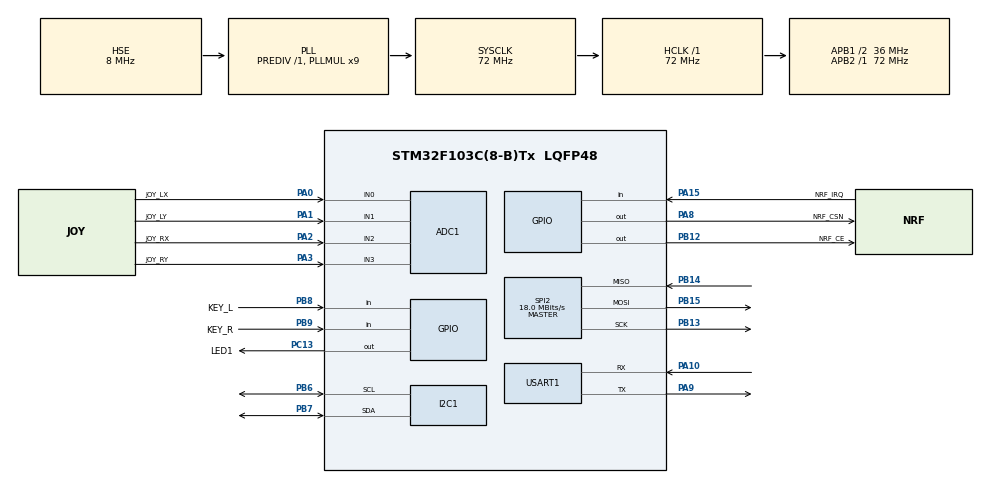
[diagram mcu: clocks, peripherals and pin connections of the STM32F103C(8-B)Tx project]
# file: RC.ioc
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ADC1.Channel-0\#ChannelRegularConversion=ADC_CHANNEL_0
ADC1.Channel-1\#ChannelRegularConversion=ADC_CHANNEL_1
ADC1.Channel-2\#ChannelRegularConversion=ADC_CHANNEL_2
ADC1.Channel-3\#ChannelRegularConversion=ADC_CHANNEL_3
ADC1.ContinuousConvMode=ENABLE
ADC1.DiscontinuousConvMode=DISABLE
ADC1.InjNumberOfConversion=0
ADC1.NbrOfConversion=4
ADC1.NbrOfConversionFlag=1
ADC1.Rank-0\#ChannelRegularConversion=1
ADC1.Rank-1\#ChannelRegularConversion=2
ADC1.Rank-2\#ChannelRegularConversion=3
ADC1.Rank-3\#ChannelRegularConversion=4
ADC1.SamplingTime-0\#ChannelRegularConversion=ADC_SAMPLETIME_1CYCLE_5
ADC1.SamplingTime-1\#ChannelRegularConversion=ADC_SAMPLETIME_1CYCLE_5
ADC1.SamplingTime-2\#ChannelRegularConversion=ADC_SAMPLETIME_1CYCLE_5
ADC1.SamplingTime-3\#ChannelRegularConversion=ADC_SAMPLETIME_1CYCLE_5
ADC1.master=1
Dma.ADC1.0.Direction=DMA_PERIPH_TO_MEMORY
Dma.ADC1.0.Instance=DMA1_Channel1
Dma.ADC1.0.MemDataAlignment=DMA_MDATAALIGN_WORD
Dma.ADC1.0.MemInc=DMA_MINC_ENABLE
Dma.ADC1.0.Mode=DMA_NORMAL
Dma.ADC1.0.PeriphDataAlignment=DMA_PDATAALIGN_WORD
Dma.ADC1.0.PeriphInc=DMA_PINC_DISABLE
Dma.ADC1.0.Priority=DMA_PRIORITY_LOW
Dma.Request0=ADC1
FREERTOS.Queues01=JoyKeyQueue,8,JoyKey_Typedef,0,Dynamic,NULL,NULL;Gesture,8,Gesture_Typedef,0,Dynamic,NULL,NULL;PIDQueue,8,PID_Typedef,0,Dynamic,NULL,NULL
FREERTOS.Tasks01=DefaultTask,-2,64,StartDefaultTask,Default,NULL,Dynamic,NULL,NULL;NRFTask,3,512,StartNRFTask,Default,NULL,Dynamic,NULL,NULL;OLED_Task,0,512,StartOLED_Task,Default,NULL,Dynamic,NULL,NULL;JoyKeyTask,0,512,StartJoyKeyTask,Default,NULL,Dynamic,NULL,NULL;PIDTask,-1,128,StartPIDTask,Default,NULL,Dynamic,NULL,NULL
FREERTOS.configENABLE_BACKWARD_COMPATIBILITY=0
FREERTOS.configGENERATE_RUN_TIME_STATS=0
FREERTOS.configIDLE_SHOULD_YIELD=0
FREERTOS.configMAX_TASK_NAME_LEN=12
FREERTOS.configMINIMAL_STACK_SIZE=64
FREERTOS.configQUEUE_REGISTRY_SIZE=0
FREERTOS.configTOTAL_HEAP_SIZE=10240
FREERTOS.configUSE_MUTEXES=0
FREERTOS.configUSE_STATS_FORMATTING_FUNCTIONS=0
FREERTOS.configUSE_TASK_NOTIFICATIONS=0
FREERTOS.configUSE_TRACE_FACILITY=0
I2C1.I2C_Mode=I2C_Fast
Mcu.Family=STM32F1
Mcu.Name=STM32F103C(8-B)Tx
Mcu.Package=LQFP48
NVIC.DMA1_Channel1_IRQn=true\:5\:0\:false\:false\:true\:true\:false\:true
NVIC.PriorityGroup=NVIC_PRIORITYGROUP_4
NVIC.TIM4_IRQn=true\:0\:0\:false\:false\:true\:false\:false\:true
NVIC.TimeBase=TIM4_IRQn
NVIC.TimeBaseIP=TIM4
PA0-WKUP.GPIO_Label=JOY_LX
PA0-WKUP.Signal=ADCx_IN0
PA1.GPIO_Label=JOY_LY
PA1.Signal=ADCx_IN1
PA10.Mode=Asynchronous
PA10.Signal=USART1_RX
PA13.GPIO_Label=SWDIO
PA13.Mode=Serial_Wire
PA13.Signal=SYS_JTMS-SWDIO
PA14.GPIO_Label=SWCLK
PA14.Mode=Serial_Wire
PA14.Signal=SYS_JTCK-SWCLK
PA15.GPIO_Label=NRF_IRQ
PA15.Signal=GPIO_Input
PA2.GPIO_Label=JOY_RX
PA2.Signal=ADCx_IN2
PA3.GPIO_Label=JOY_RY
PA3.Signal=ADCx_IN3
PA8.GPIO_Label=NRF_CSN
PA8.GPIO_Speed=GPIO_SPEED_FREQ_HIGH
PA8.Signal=GPIO_Output
PA9.Mode=Asynchronous
PA9.Signal=USART1_TX
PB12.GPIO_Label=NRF_CE
PB12.GPIO_Speed=GPIO_SPEED_FREQ_HIGH
PB12.Signal=GPIO_Output
PB13.Mode=Full_Duplex_Master
PB13.Signal=SPI2_SCK
PB14.Mode=Full_Duplex_Master
PB14.Signal=SPI2_MISO
PB15.Mode=Full_Duplex_Master
PB15.Signal=SPI2_MOSI
PB6.Mode=I2C
PB6.Signal=I2C1_SCL
PB7.Mode=I2C
PB7.Signal=I2C1_SDA
PB8.GPIO_Label=KEY_L
PB8.GPIO_PuPd=GPIO_PULLUP
PB8.Signal=GPIO_Input
PB9.GPIO_Label=KEY_R
PB9.GPIO_PuPd=GPIO_PULLDOWN
PB9.Signal=GPIO_Input
PC13-TAMPER-RTC.GPIO_Label=LED1
PC13-TAMPER-RTC.GPIO_Speed=GPIO_SPEED_FREQ_HIGH
PC13-TAMPER-RTC.Signal=GPIO_Output
PC14-OSC32_IN.Mode=LSE-External-Oscillator
PC14-OSC32_IN.Signal=RCC_OSC32_IN
PC15-OSC32_OUT.Mode=LSE-External-Oscillator
PC15-OSC32_OUT.Signal=RCC_OSC32_OUT
PD0-OSC_IN.Mode=HSE-External-Oscillator
PD0-OSC_IN.Signal=RCC_OSC_IN
PD1-OSC_OUT.Mode=HSE-External-Oscillator
PD1-OSC_OUT.Signal=RCC_OSC_OUT
ProjectManager.HeapSize=0x600
ProjectManager.StackSize=0x800
ProjectManager.TargetToolchain=MDK-ARM V5
RCC.ADCPresc=RCC_ADCPCLK2_DIV6
RCC.AHBFreq_Value=72000000
RCC.APB1CLKDivider=RCC_HCLK_DIV2
RCC.APB1Freq_Value=36000000
RCC.APB1TimFreq_Value=72000000
RCC.APB2Freq_Value=72000000
RCC.APB2TimFreq_Value=72000000
RCC.EnbaleCSS=true
RCC.HCLKFreq_Value=72000000
RCC.PLLMUL=RCC_PLL_MUL9
RCC.PLLSourceVirtual=RCC_PLLSOURCE_HSE
RCC.SYSCLKFreq_VALUE=72000000
RCC.SYSCLKSource=RCC_SYSCLKSOURCE_PLLCLK
RCC.USBFreq_Value=48000000
RCC.USBPrescaler=RCC_USBCLKSOURCE_PLL_DIV1_5
SH.ADCx_IN0.0=ADC1_IN0,IN0
SH.ADCx_IN1.0=ADC1_IN1,IN1
SH.ADCx_IN2.0=ADC1_IN2,IN2
SH.ADCx_IN3.0=ADC1_IN3,IN3
SPI2.BaudRatePrescaler=SPI_BAUDRATEPRESCALER_2
SPI2.CalculateBaudRate=18.0 MBits/s
SPI2.Direction=SPI_DIRECTION_2LINES
SPI2.Mode=SPI_MODE_MASTER
SPI2.VirtualType=VM_MASTER
USART1.VirtualMode=VM_ASYNC
VP_CRC_VS_CRC.Mode=CRC_Activate
VP_FREERTOS_VS_CMSIS_V1.Mode=CMSIS_V1
VP_SYS_VS_tim4.Mode=TIM4
board=custom

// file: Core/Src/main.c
/* USER CODE BEGIN Header */
/**
  ******************************************************************************
  * @file           : main.c
  * @brief          : Main program body
  ******************************************************************************
  * This notice applies to any and all portions of this file
  * that are not between comment pairs USER CODE BEGIN and
  * USER CODE END. Other portions of this file, whether
  * inserted by the user or by software development tools
  * are owned by their respective copyright owners.
  *
  * Copyright (c) 2018 STMicroelectronics International N.V.
  * All rights reserved.
  *
  * Redistribution and use in source and binary forms, with or without
  * modification, are permitted, provided that the following conditions are met:
  *
  * 1. Redistribution of source code must retain the above copyright notice,
  *    this list of conditions and the following disclaimer.
  * 2. Redistributions in binary form must reproduce the above copyright notice,
  *    this list of conditions and the following disclaimer in the documentation
  *    and/or other materials provided with the distribution.
  * 3. Neither the name of STMicroelectronics nor the names of other
  *    contributors to this software may be used to endorse or promote products
  *    derived from this software without specific written permission.
  * 4. This software, including modifications and/or derivative works of this
  *    software, must execute solely and exclusively on microcontroller or
  *    microprocessor devices manufactured by or for STMicroelectronics.
  * 5. Redistribution and use of this software other than as permitted under
  *    this license is void and will automatically terminate your rights under
  *    this license.
  *
  * THIS SOFTWARE IS PROVIDED BY STMICROELECTRONICS AND CONTRIBUTORS "AS IS"
  * AND ANY EXPRESS, IMPLIED OR STATUTORY WARRANTIES, INCLUDING, BUT NOT
  * LIMITED TO, THE IMPLIED WARRANTIES OF MERCHANTABILITY, FITNESS FOR A
  * PARTICULAR PURPOSE AND NON-INFRINGEMENT OF THIRD PARTY INTELLECTUAL PROPERTY
  * RIGHTS ARE DISCLAIMED TO THE FULLEST EXTENT PERMITTED BY LAW. IN NO EVENT
  * SHALL STMICROELECTRONICS OR CONTRIBUTORS BE LIABLE FOR ANY DIRECT, INDIRECT,
  * INCIDENTAL, SPECIAL, EXEMPLARY, OR CONSEQUENTIAL DAMAGES (INCLUDING, BUT NOT
  * LIMITED TO, PROCUREMENT OF SUBSTITUTE GOODS OR SERVICES; LOSS OF USE, DATA,
  * OR PROFITS; OR BUSINESS INTERRUPTION) HOWEVER CAUSED AND ON ANY THEORY OF
  * LIABILITY, WHETHER IN CONTRACT, STRICT LIABILITY, OR TORT (INCLUDING
  * NEGLIGENCE OR OTHERWISE) ARISING IN ANY WAY OUT OF THE USE OF THIS SOFTWARE,
  * EVEN IF ADVISED OF THE POSSIBILITY OF SUCH DAMAGE.
  *
  ******************************************************************************
  */
/* USER CODE END Header */

#include "main.h"
#include "cmsis_os.h"
#include "adc.h"
#include "crc.h"
#include "dma.h"
#include "i2c.h"
#include "spi.h"
#include "usart.h"
#include "gpio.h"

/* USER CODE BEGIN Includes */
#include "BSP_OLED.h"
#include "BSP_NRF24L01.h"
/* USER CODE END Includes */

void SystemClock_Config(void);
void MX_FREERTOS_Init(void);

int main(void)
{

  /* MCU Configuration--------------------------------------------------------*/

  /* Reset of all peripherals, Initializes the Flash interface and the Systick. */
  HAL_Init();

  /* Configure the system clock */
  SystemClock_Config();

  /* Initialize all configured peripherals */
  MX_GPIO_Init();
  MX_DMA_Init();
  MX_SPI2_Init();
  MX_I2C1_Init();
  MX_ADC1_Init();
  MX_USART1_UART_Init();
  MX_CRC_Init();
  /* USER CODE BEGIN 2 */
		while( NRF24L01_Check() );
  HAL_ADCEx_Calibration_Start(&hadc1);
	 OLED_Init();
		OLED_Clear();
  /* USER CODE END 2 */

  /* Call init function for freertos objects (in freertos.c) */
  MX_FREERTOS_Init();

  /* Start scheduler */
  osKernelStart();

  /* We should never get here as control is now taken by the scheduler */

  /* Infinite loop */
  while (1)
  {

  }
}

void SystemClock_Config(void)
{
  RCC_OscInitTypeDef RCC_OscInitStruct = {0};
  RCC_ClkInitTypeDef RCC_ClkInitStruct = {0};
  RCC_PeriphCLKInitTypeDef PeriphClkInit = {0};

  /**Initializes the CPU, AHB and APB busses clocks
  */
  RCC_OscInitStruct.OscillatorType = RCC_OSCILLATORTYPE_HSE;
  RCC_OscInitStruct.HSEState = RCC_HSE_ON;
  RCC_OscInitStruct.HSEPredivValue = RCC_HSE_PREDIV_DIV1;
  RCC_OscInitStruct.HSIState = RCC_HSI_ON;
  RCC_OscInitStruct.PLL.PLLState = RCC_PLL_ON;
  RCC_OscInitStruct.PLL.PLLSource = RCC_PLLSOURCE_HSE;
  RCC_OscInitStruct.PLL.PLLMUL = RCC_PLL_MUL9;
  if (HAL_RCC_OscConfig(&RCC_OscInitStruct) != HAL_OK)
  {
    Error_Handler();
  }
  /**Initializes the CPU, AHB and APB busses clocks
  */
  RCC_ClkInitStruct.ClockType = RCC_CLOCKTYPE_HCLK|RCC_CLOCKTYPE_SYSCLK
                              |RCC_CLOCKTYPE_PCLK1|RCC_CLOCKTYPE_PCLK2;
  RCC_ClkInitStruct.SYSCLKSource = RCC_SYSCLKSOURCE_PLLCLK;
  RCC_ClkInitStruct.AHBCLKDivider = RCC_SYSCLK_DIV1;
  RCC_ClkInitStruct.APB1CLKDivider = RCC_HCLK_DIV2;
  RCC_ClkInitStruct.APB2CLKDivider = RCC_HCLK_DIV1;

  if (HAL_RCC_ClockConfig(&RCC_ClkInitStruct, FLASH_LATENCY_2) != HAL_OK)
  {
    Error_Handler();
  }
  PeriphClkInit.PeriphClockSelection = RCC_PERIPHCLK_ADC;
  PeriphClkInit.AdcClockSelection = RCC_ADCPCLK2_DIV6;
  if (HAL_RCCEx_PeriphCLKConfig(&PeriphClkInit) != HAL_OK)
  {
    Error_Handler();
  }
  /**Enables the Clock Security System
  */
  HAL_RCC_EnableCSS();
}

void HAL_TIM_PeriodElapsedCallback(TIM_HandleTypeDef *htim)
{
  if (htim->Instance == TIM4) {
    HAL_IncTick();
  }
}

void Error_Handler(void)
{
}

/************************ (C) COPYRIGHT STMicroelectronics *****END OF FILE****/

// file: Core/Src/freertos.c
/* USER CODE BEGIN Header */
/**
  ******************************************************************************
  * File Name          : freertos.c
  * Description        : Code for freertos applications
  ******************************************************************************
  * This notice applies to any and all portions of this file
  * that are not between comment pairs USER CODE BEGIN and
  * USER CODE END. Other portions of this file, whether
  * inserted by the user or by software development tools
  * are owned by their respective copyright owners.
  *
  * Copyright (c) 2018 STMicroelectronics International N.V.
  * All rights reserved.
  *
  * Redistribution and use in source and binary forms, with or without
  * modification, are permitted, provided that the following conditions are met:
  *
  * 1. Redistribution of source code must retain the above copyright notice,
  *    this list of conditions and the following disclaimer.
  * 2. Redistributions in binary form must reproduce the above copyright notice,
  *    this list of conditions and the following disclaimer in the documentation
  *    and/or other materials provided with the distribution.
  * 3. Neither the name of STMicroelectronics nor the names of other
  *    contributors to this software may be used to endorse or promote products
  *    derived from this software without specific written permission.
  * 4. This software, including modifications and/or derivative works of this
  *    software, must execute solely and exclusively on microcontroller or
  *    microprocessor devices manufactured by or for STMicroelectronics.
  * 5. Redistribution and use of this software other than as permitted under
  *    this license is void and will automatically terminate your rights under
  *    this license.
  *
  * THIS SOFTWARE IS PROVIDED BY STMICROELECTRONICS AND CONTRIBUTORS "AS IS"
  * AND ANY EXPRESS, IMPLIED OR STATUTORY WARRANTIES, INCLUDING, BUT NOT
  * LIMITED TO, THE IMPLIED WARRANTIES OF MERCHANTABILITY, FITNESS FOR A
  * PARTICULAR PURPOSE AND NON-INFRINGEMENT OF THIRD PARTY INTELLECTUAL PROPERTY
  * RIGHTS ARE DISCLAIMED TO THE FULLEST EXTENT PERMITTED BY LAW. IN NO EVENT
  * SHALL STMICROELECTRONICS OR CONTRIBUTORS BE LIABLE FOR ANY DIRECT, INDIRECT,
  * INCIDENTAL, SPECIAL, EXEMPLARY, OR CONSEQUENTIAL DAMAGES (INCLUDING, BUT NOT
  * LIMITED TO, PROCUREMENT OF SUBSTITUTE GOODS OR SERVICES; LOSS OF USE, DATA,
  * OR PROFITS; OR BUSINESS INTERRUPTION) HOWEVER CAUSED AND ON ANY THEORY OF
  * LIABILITY, WHETHER IN CONTRACT, STRICT LIABILITY, OR TORT (INCLUDING
  * NEGLIGENCE OR OTHERWISE) ARISING IN ANY WAY OUT OF THE USE OF THIS SOFTWARE,
  * EVEN IF ADVISED OF THE POSSIBILITY OF SUCH DAMAGE.
  *
  ******************************************************************************
  */
/* USER CODE END Header */

#include "FreeRTOS.h"
#include "task.h"
#include "main.h"
#include "cmsis_os.h"

/* USER CODE BEGIN Includes */
#include "string.h"

#include "adc.h"
#include "crc.h"
#include "usart.h"

#include "BSP_LED.h"
#include "BSP_NRF24L01.h"
#include "BSP_OLED.h"
#include "BSP_Key.h"
/* USER CODE END Includes */

/* USER CODE BEGIN PD */
#define NRF_TX_MAXRETRY 5
#define NRF_RX_MAXRETRY 5

/* Roll  innner INDEX_PID 1
         outer  INDEX_PID 4
			pitch inner  INDEX_PID 7
			      outer  INDEX_PID 10
*/

#define INDEX_PID  4
/* USER CODE END PD */

/* USER CODE BEGIN Variables */
typedef __packed struct{
	uint8_t Function_Code; //1B
	float P; //4B
	float I; //4B
	float D; //4B
	uint8_t Select_Index;//1B
}PID_Typedef;    //26B

typedef __packed struct{
	uint8_t Function_Code;
	uint8_t Key_Left_Flag;
	uint8_t Key_Right_Flag;
	uint8_t key_Count;  //4B
	int16_t LX;  //2B YAW       -180~+180
	int16_t LY;  //2B Throttle  -2000~+2000
	int8_t RX;  //1B Roll      -30~+30
	int8_t RY;  //1B Pitch     -30~+30
	uint8_t Heart_Beat; //1B
}JoyKey_Typedef;   //10B

typedef __packed struct{
	uint8_t Function_Code;
	float Yaw;  //4B
	float Pitch;  //4B
	float Roll;  //4B
}Gesture_Typedef;

/* USER CODE END Variables */
osThreadId DefaultTaskHandle;
osThreadId NRFTaskHandle;
osThreadId OLED_TaskHandle;
osThreadId JoyKeyTaskHandle;
osThreadId PIDTaskHandle;
osMessageQId JoyKeyQueueHandle;
osMessageQId GestureHandle;
osMessageQId PIDQueueHandle;

void StartDefaultTask(void const * argument);
void StartNRFTask(void const * argument);
void StartOLED_Task(void const * argument);
void StartJoyKeyTask(void const * argument);
void StartPIDTask(void const * argument);

void MX_FREERTOS_Init(void); /* (MISRA C 2004 rule 8.1) */

void MX_FREERTOS_Init(void) {

  /* Create the thread(s) */
  /* definition and creation of DefaultTask */
  osThreadDef(DefaultTask, StartDefaultTask, osPriorityLow, 0, 64);
  DefaultTaskHandle = osThreadCreate(osThread(DefaultTask), NULL);

  /* definition and creation of NRFTask */
  osThreadDef(NRFTask, StartNRFTask, osPriorityRealtime, 0, 512);
  NRFTaskHandle = osThreadCreate(osThread(NRFTask), NULL);

  /* definition and creation of OLED_Task */
  osThreadDef(OLED_Task, StartOLED_Task, osPriorityNormal, 0, 512);
  OLED_TaskHandle = osThreadCreate(osThread(OLED_Task), NULL);

  /* definition and creation of JoyKeyTask */
  osThreadDef(JoyKeyTask, StartJoyKeyTask, osPriorityNormal, 0, 512);
  JoyKeyTaskHandle = osThreadCreate(osThread(JoyKeyTask), NULL);

  /* definition and creation of PIDTask */
  osThreadDef(PIDTask, StartPIDTask, osPriorityBelowNormal, 0, 128);
  PIDTaskHandle = osThreadCreate(osThread(PIDTask), NULL);

  /* Create the queue(s) */
  /* definition and creation of JoyKeyQueue */
  osMessageQDef(JoyKeyQueue, 8, JoyKey_Typedef);
  JoyKeyQueueHandle = osMessageCreate(osMessageQ(JoyKeyQueue), NULL);

  /* definition and creation of Gesture */
  osMessageQDef(Gesture, 8, Gesture_Typedef);
  GestureHandle = osMessageCreate(osMessageQ(Gesture), NULL);

  /* definition and creation of PIDQueue */
  osMessageQDef(PIDQueue, 8, PID_Typedef);
  PIDQueueHandle = osMessageCreate(osMessageQ(PIDQueue), NULL);

}

void StartDefaultTask(void const * argument)
{

  /* USER CODE BEGIN StartDefaultTask */
  /* Infinite loop */
  for(;;)
  {
		  LED_ON;
				osDelay(50);
				LED_OFF;

    osDelay(950);
  }
  /* USER CODE END StartDefaultTask */
}

void StartNRFTask(void const * argument)
{
  /* USER CODE BEGIN StartNRFTask */
	 Gesture_Typedef Gesture;

	 osEvent JoyKey_Event;
	 osEvent PID_Event;

	 uint8_t NRF_Tx_buf[32];  //1字节功能码+30字节数据-------------------
  uint8_t NRF_Rx_buf[32];
  uint32_t CRC_Buf[31];

 	uint8_t NRF_Mode=1;//0 无  1 发送 2 接收
	 __IO uint8_t Function_Code='C';
	 uint8_t NRF_Rx_index=0;
  uint8_t Time_Index=0;

 	NRF24L01_Init(40,NRF_Mode);//发送

  /* Infinite loop */
  for(;;)
  {
//			 if( Time_Index >50 )
//				{
//			  Function_code= 'R';
//					Gesture.Function_Code=Function_code;
//					Time_Index=0;
//			 }
//				else
//				{
				JoyKey_Event=osMessagePeek(JoyKeyQueueHandle,0);

		 	PID_Event=osMessagePeek(PIDQueueHandle,0);

    switch( NRF_Mode )
				{
					case 1:
							NRF24L01_TX_Mode();
							NRF_Mode=0;
						break;

					case 2:
							NRF24L01_RX_Mode();
							NRF_Mode=0;
						break;
					default:
						break;
				}

				if( ((PID_Typedef *)(PID_Event.value.p))->Function_Code == 'S')
				{
					Function_Code='S';
				}
				else
				{
					Function_Code=((JoyKey_Typedef *)(JoyKey_Event.value.p))->Function_Code;
				}

    switch( Function_Code )
				{
					case 'D':
						NRF_Tx_buf[0]='D';
					 memcpy(CRC_Buf,NRF_Tx_buf,31 );
					 NRF_Tx_buf[31] =(uint8_t) HAL_CRC_Calculate(&hcrc, CRC_Buf, 31);
						NRF24L01_TxPacket(NRF_Tx_buf);
						break;

					case 'C':
						memcpy( NRF_Tx_buf,((JoyKey_Typedef *)(JoyKey_Event.value.p)),sizeof(JoyKey_Typedef) );
					 ((JoyKey_Typedef *)(JoyKey_Event.value.p))->Heart_Beat++;
					 memcpy(CRC_Buf,NRF_Tx_buf,31 );
					 NRF_Tx_buf[31] =(uint8_t)HAL_CRC_Calculate(&hcrc, CRC_Buf, 31);
						NRF24L01_TxPacket(NRF_Tx_buf);
						break;

					case 'R':
							NRF24L01_TxPacket(NRF_Tx_buf);
							if( NRF_Mode!=2 )
							{
										NRF24L01_RX_Mode();
							}
							while(++NRF_Rx_index)
								{
											HAL_Delay(1);//加入该延时 即可收   原因未知？？？
											NRF24L01_RxPacket(NRF_Rx_buf);
											memcpy( &Gesture,NRF_Rx_buf,sizeof(Gesture_Typedef) );
											osMessagePut(GestureHandle,(uint32_t)&Gesture,0);
											if( NRF_Rx_index>NRF_RX_MAXRETRY )
											{
												NRF_Rx_index=0;
												Function_Code='C';
												break;
											}
								}
						NRF_Mode=1;
						break;

					case 'S':
						memcpy( NRF_Tx_buf,((PID_Typedef *)(PID_Event.value.p)),sizeof(PID_Typedef));
					 NRF24L01_TxPacket(NRF_Tx_buf);
						break;

					default:
						break;
				}
    Time_Index++;
    osDelay(5);
  }
  /* USER CODE END StartNRFTask */
}

void StartOLED_Task(void const * argument)
{
  /* USER CODE BEGIN StartOLED_Task */
  char str_buf1[16],str_buf2[10],str_buf3[19];
	 osEvent JoyKey_Event;
//  osEvent Gesture_Event;
	 osEvent PID_Event;

	 uint8_t Function_Code;
  /* Infinite loop */
  for(;;)
  {
  PID_Event=osMessagePeek(PIDQueueHandle,5);

		JoyKey_Event=osMessagePeek(JoyKeyQueueHandle,5);

  if( ((PID_Typedef *)(PID_Event.value.p))->Function_Code == 'S')
		{
			Function_Code='S';
		}
		else
		{
   Function_Code=((JoyKey_Typedef *)(JoyKey_Event.value.p))->Function_Code;
		}
			sprintf( str_buf1,"Function_Code: %c",  Function_Code);
			OLED_ShowString(0,0,(uint8_t *)str_buf1,12);

			switch( Function_Code )
			{
				case 'S':
					sprintf( str_buf3,"P:%02.2f", ((PID_Typedef *)(PID_Event.value.p))->P  );
					OLED_ShowString(0,1,(uint8_t *)str_buf3,12);

					sprintf( str_buf3,"I:%02.2f",((PID_Typedef *)(PID_Event.value.p))->I 		);
					OLED_ShowString(0,2,(uint8_t *)str_buf3,12);

					sprintf( str_buf3,"D:%02.2f",((PID_Typedef *)(PID_Event.value.p))->D  );
					OLED_ShowString(0,3,(uint8_t *)str_buf3,12);
					sprintf( str_buf3,"index:%1d",
																																									((PID_Typedef *)(PID_Event.value.p))->Select_Index );
					OLED_ShowString(0,4,(uint8_t *)str_buf3,12);
			break;

			case 'C':
						sprintf( str_buf1,"LX:%4d LY:%5d",
																																									((JoyKey_Typedef *)(JoyKey_Event.value.p))->LX,
																																									((JoyKey_Typedef *)(JoyKey_Event.value.p))->LY );
					OLED_ShowString(0,1,(uint8_t *)str_buf1,12);

					sprintf( str_buf2,"RX:%3d RY:%3d",
																																									((JoyKey_Typedef *)(JoyKey_Event.value.p))->RX,
																																									((JoyKey_Typedef *)(JoyKey_Event.value.p))->RY);
					OLED_ShowString(0,2,(uint8_t *)str_buf2,12);
			break;

				default :
//					OLED_Clear();
					break;
			}
/*
	  Gesture_Event=osMessageGet(GesturePIDHandle,10);
			sprintf( str_buf,"%3.1f %3.1f %3.1f",
			                                    ((Gesture_Typedef *)(Gesture_Event.value.p))->Pitch,
																																							((Gesture_Typedef *)(Gesture_Event.value.p))->Roll,
																																							((Gesture_Typedef *)(Gesture_Event.value.p))->Yaw );
   OLED_ShowString(0,6,(uint8_t *)str_buf,12);
*/

			osDelay(20);
  }
  /* USER CODE END StartOLED_Task */
}

void StartJoyKeyTask(void const * argument)
{
  /* USER CODE BEGIN StartJoyKeyTask */
	  JoyKey_Typedef JoyKey;

	  Key_Statu_Typedef Key;

	 __IO uint8_t Function_code='C'; 	 //RC 功能码(注意大写)   C:控制  R:请求数据  S:设置PID H:hover mode  D:dead mode

	 uint32_t ADC[4];
	 const int8_t ADC_adj[4]={0,0,0,0};

	 Key_init(&Key);
  /* Infinite loop */
  for(;;)
  {
			 HAL_ADC_Start_DMA(&hadc1,ADC,4);
    JoyKey.LX=(int16_t)(ADC[0]-4095/2)/11.375f+ADC_adj[0];  //YAW       179~-180
			 JoyKey.LY=(int16_t)((4095-ADC[1])/2-4095/4)+ADC_adj[1];   //Throttle -1000 ~ +1000
			 JoyKey.RX=(int8_t) -(ADC[2]/68-30+ADC_adj[2]);       //Roll
			 JoyKey.RY=(int8_t) (ADC[3]/68-30+ADC_adj[3]);       //Pitch 	       -30~30
			 HAL_ADC_Stop_DMA(&hadc1);

			 if(JoyKey.LX <20 && JoyKey.LX > -20 )
				{
				 JoyKey.LX=0;
				}
			 if(JoyKey.RX <3 && JoyKey.RX > -3 )
				{
				 JoyKey.RX=0;
				}
			 if(JoyKey.RY <3 && JoyKey.RY > -3 )
				{
				 JoyKey.RY=0;
				}

			 Scan_Key(&Key);

			 JoyKey.key_Count=Key.Count;
			 JoyKey.Key_Left_Flag=Key.Key_Left_Flag;
			 JoyKey.Key_Right_Flag=Key.Key_Right_Flag;

				if(JoyKey.Key_Left_Flag == 1 && JoyKey.Key_Right_Flag != 1 && JoyKey.key_Count >5 && JoyKey.key_Count <10)//防止同时按下左右两键
					{
						 switch( Function_code )
		    	{
								case 'D':
								 Function_code='C';
						   break;
								case 'C':
         Function_code='D';
						   break;
							default:
         Function_code='D';
						   break;
							}
					}
				JoyKey.Function_Code=Function_code;
				osMessagePut(JoyKeyQueueHandle,(uint32_t)&JoyKey,0);//传送队列的地址

    osDelay(20);
  }
  /* USER CODE END StartJoyKeyTask */
}

void StartPIDTask(void const * argument)
{
  /* USER CODE BEGIN StartPIDTask */
  osEvent JoyKey_Event;
	 PID_Typedef PID_Set;
  /* Infinite loop */
  for(;;)
  {
			JoyKey_Event=osMessagePeek(JoyKeyQueueHandle,0);

			if( ((JoyKey_Typedef *)(JoyKey_Event.value.p))->Key_Right_Flag == 1 &&
				   ((JoyKey_Typedef *)(JoyKey_Event.value.p))->Key_Left_Flag != 1 &&
			    ((JoyKey_Typedef *)(JoyKey_Event.value.p))->key_Count > 10 &&
       ((JoyKey_Typedef *)(JoyKey_Event.value.p))->key_Count < 15			)//防止同时按下左右两键
					{
						 switch( PID_Set.Function_Code )
		    	{

								case 'C':
//								 Function_code='S';
//								 osThreadResume(PIDTaskHandle);
								 PID_Set.Function_Code='S';
						   break;
								case 'S':
//         Function_code='C';
//								 osThreadSuspend(PIDTaskHandle);
								 PID_Set.Function_Code='C';
						   break;
								case 'D':
									PID_Set.Function_Code='S';
//									Function_code='S';
						   break;
							default:
								PID_Set.Function_Code='S';
//         Function_code='S';
						   break;

							}
					}
			if( PID_Set.Function_Code == 'S' )
			{
					switch(PID_Set.Select_Index)
						{
							case INDEX_PID:
						  if(((JoyKey_Typedef *)(JoyKey_Event.value.p))->RY<-29)
								{
								 PID_Set.P+=1.0f;
								}
						  if(((JoyKey_Typedef *)(JoyKey_Event.value.p))->RY>29)
								{
								 PID_Set.P-=1.0f;
								}
						  if(((JoyKey_Typedef *)(JoyKey_Event.value.p))->LY<-990)
								{
								 PID_Set.P+=0.01f;
								}
						  if(((JoyKey_Typedef *)(JoyKey_Event.value.p))->LY>990)
								{
								 PID_Set.P-=0.01f;
								}
								if(PID_Set.P<=0)
								{
								 PID_Set.P=0.0f;
								}
								break;

							case INDEX_PID+1:
						  if(((JoyKey_Typedef *)(JoyKey_Event.value.p))->RY<-29)
								{
								 PID_Set.I+=1.0f;
								}
						  if(((JoyKey_Typedef *)(JoyKey_Event.value.p))->RY>29)
								{
								 PID_Set.I-=1.0f;
								}
						  if(((JoyKey_Typedef *)(JoyKey_Event.value.p))->LY<-990)
								{
								 PID_Set.I+=0.01f;
								}
						  if(((JoyKey_Typedef *)(JoyKey_Event.value.p))->LY>990)
								{
								 PID_Set.I-=0.01f;
								}
								if(PID_Set.I<=0)
								{
								 PID_Set.I=0.0f;
								}
								break;

							case INDEX_PID+2:
						  if(((JoyKey_Typedef *)(JoyKey_Event.value.p))->RY<-29)
								{
								 PID_Set.D+=1.0f;
								}
						  if(((JoyKey_Typedef *)(JoyKey_Event.value.p))->RY>29)
								{
								 PID_Set.D-=1.0f;
								}
						  if(((JoyKey_Typedef *)(JoyKey_Event.value.p))->LY<-990)
								{
								 PID_Set.D+=0.01f;
								}
						  if(((JoyKey_Typedef *)(JoyKey_Event.value.p))->LY>990)
								{
								 PID_Set.D-=0.01f;
								}
								if(PID_Set.D<=0)
								{
								 PID_Set.D=0.0f;
								}
								break;

							default:
       break;
						}
				 	if( ((JoyKey_Typedef *)(JoyKey_Event.value.p))->LX < -170 )
      {
							PID_Set.Select_Index++;
						}
					 if( ((JoyKey_Typedef *)(JoyKey_Event.value.p))->LX > 170 )
						{
						 PID_Set.Select_Index--;
						}
						if(PID_Set.Select_Index>=INDEX_PID+2)
						{
						PID_Set.Select_Index=INDEX_PID+2;
						}
						if(PID_Set.Select_Index<=INDEX_PID)
						{
						PID_Set.Select_Index=INDEX_PID;
						}
						osMessagePut(PIDQueueHandle,(uint32_t)&PID_Set, 0);
					}
    osDelay(20);
  }
  /* USER CODE END StartPIDTask */
}

/************************ (C) COPYRIGHT STMicroelectronics *****END OF FILE****/
